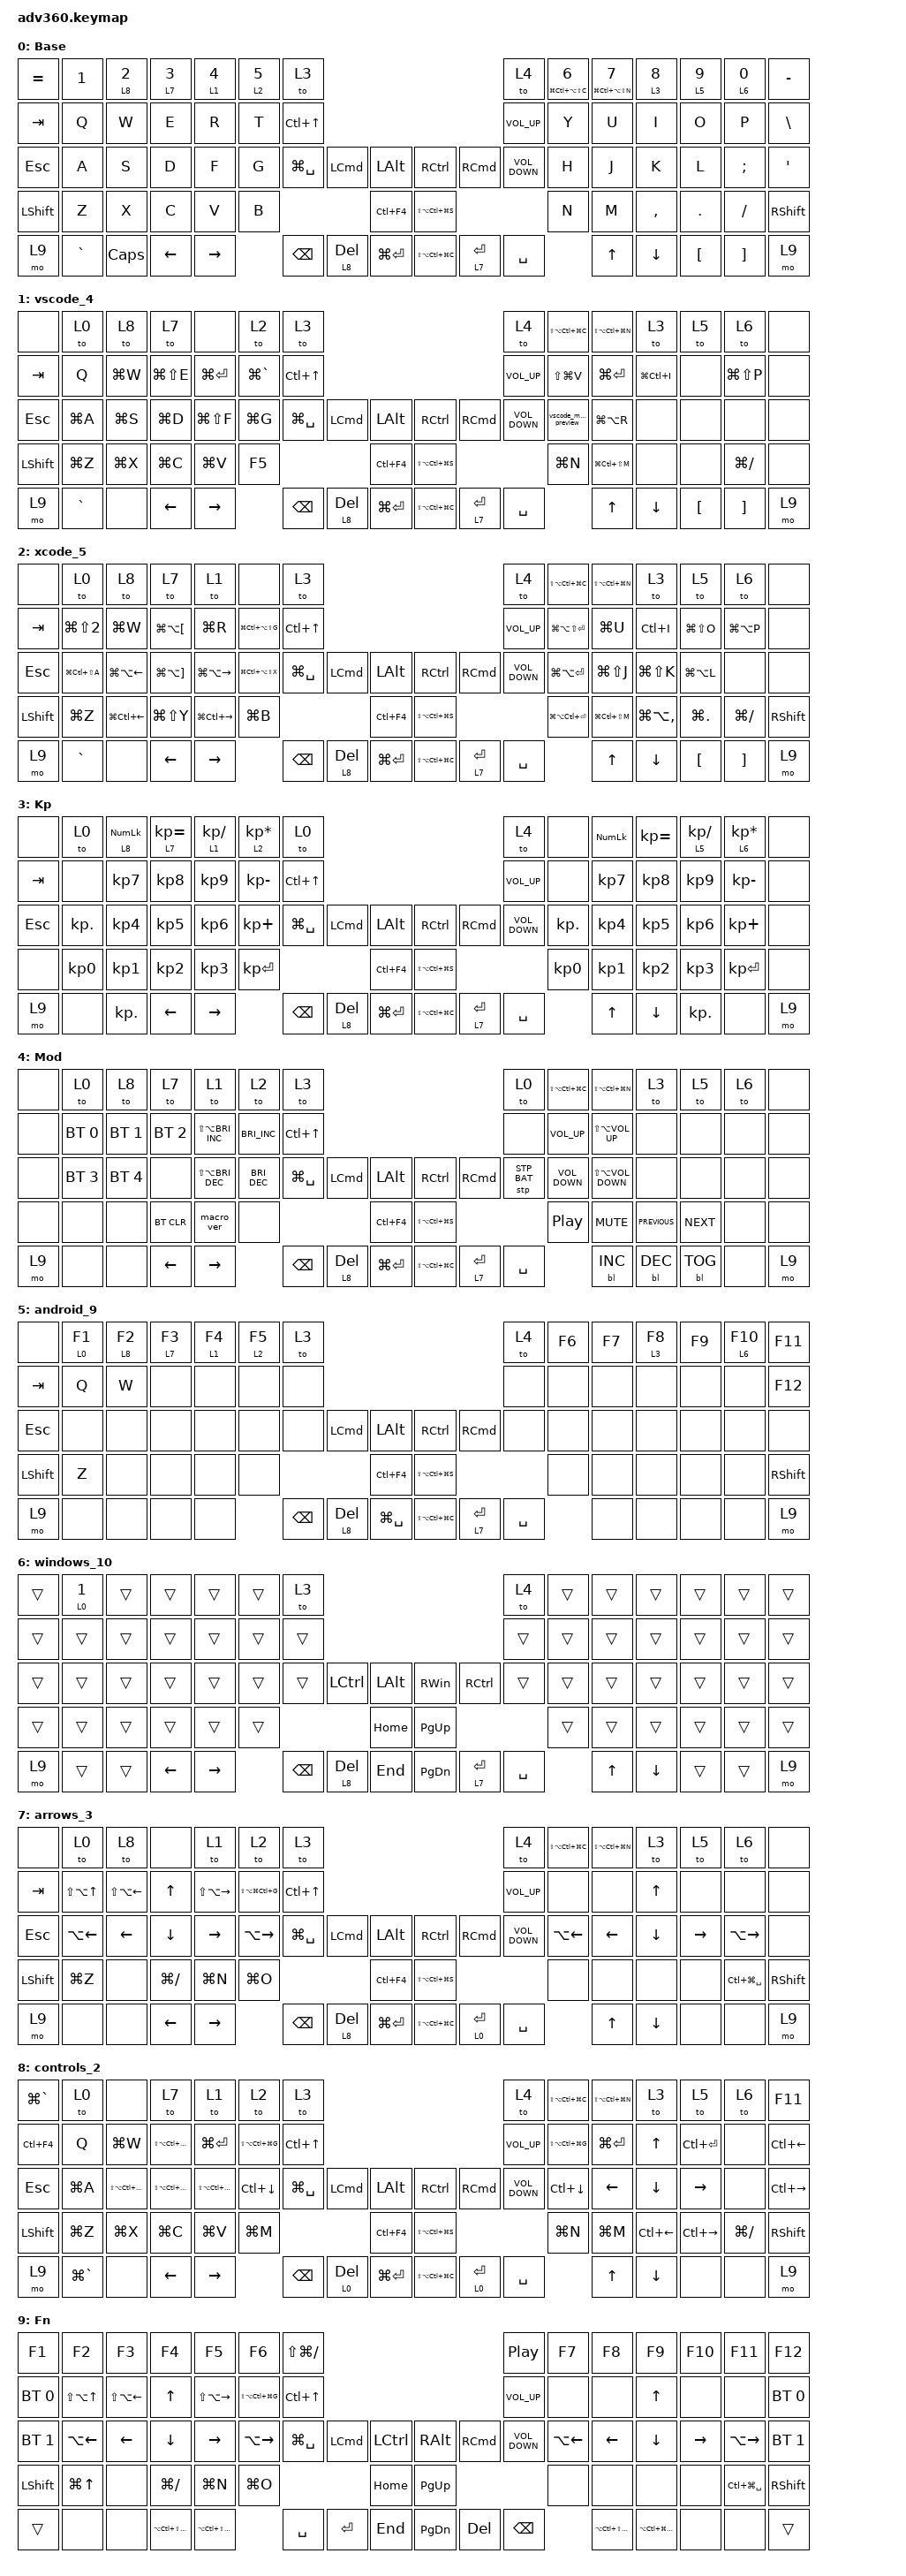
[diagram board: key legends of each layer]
#include <dt-bindings/zmk/stp.h>
#include <behaviors.dtsi>
#include <dt-bindings/zmk/backlight.h>
#include <dt-bindings/zmk/bt.h>
#include <dt-bindings/zmk/keys.h>

/ {
    behaviors {
        #include "macros.dtsi"
      #include "version.dtsi"

        hm: homerow_mods {
            compatible = "zmk,behavior-hold-tap";
            label = "HOMEROW_MODS";
            #binding-cells = <2>;
            tapping-term-ms = <200>;
            quick_tap_ms = <175>;
            flavor = "tap-preferred";
            bindings = <&kp>, <&kp>;
        };

        hold_to_tap_kp: hold_to_tap_kp {
            compatible = "zmk,behavior-hold-tap";
            label = "HOLD_TO_TAP_KP";
            #binding-cells = <2>;
            tapping-term-ms = <200>;
            quick_tap_ms = <175>;
            flavor = "tap-preferred";
            bindings = <&to>, <&kp>;
        };

        hold_kp_tap_kp: hold_kp_tap_kp {
            compatible = "zmk,behavior-hold-tap";
            label = "HOLD_KP_TAP_KP";
            #binding-cells = <2>;
            tapping-term-ms = <200>;
            quick_tap_ms = <175>;
            flavor = "tap-preferred";
            bindings = <&kp>, <&kp>;
        };

        hold_mo_tap_kp: hold_mo_tap_kp {
            compatible = "zmk,behavior-hold-tap";
            label = "HOLD_MO_TAP_KP";
            #binding-cells = <2>;
            tapping-term-ms = <200>;
            quick_tap_ms = <175>;
            flavor = "tap-preferred";
            bindings = <&mo>, <&kp>;
        };
    };

    macros {
        vscode_markdown_preview: vscode_markdown_preview {
            compatible = "zmk,behavior-macro";
            #binding-cells = <0>;
            bindings =
                <&macro_press>,
                <&kp LGUI>,
                <&macro_tap>,
                <&kp K>,
                <&macro_release>,
                <&kp LGUI>,
                <&macro_tap>,
                <&kp V>;

            label = "VSCODE_MARKDOWN_PREVIEW";
        };
    };

    keymap {
        compatible = "zmk,keymap";

        base {
            display-name = "Base";
            bindings = <
&kp EQUAL  &kp N1     &hold_to_tap_kp 8 N2  &hold_to_tap_kp 7 N3  &hold_to_tap_kp 1 N4  &hold_to_tap_kp 2 N5  &to 3                                                                                                       &to 4              &hold_kp_tap_kp LG(LC(LA(LS(C)))) N6  &hold_kp_tap_kp LG(LC(LA(LS(N)))) N7  &hold_to_tap_kp 3 N8  &hold_to_tap_kp 5 N9  &hold_to_tap_kp 6 N0  &kp MINUS
&kp TAB    &kp Q      &kp W                 &kp E                 &kp R                 &kp T                 &kp LC(UP)                                                                                                  &kp C_VOLUME_UP    &kp Y                                 &kp U                                 &kp I                 &kp O                 &kp P                 &kp BSLH
&kp ESC    &kp A      &kp S                 &kp D                 &kp F                 &kp G                 &kp LG(SPACE)  &kp LEFT_COMMAND          &kp LEFT_ALT       &kp RIGHT_CONTROL      &kp RIGHT_COMMAND        &kp C_VOLUME_DOWN  &kp H                                 &kp J                                 &kp K                 &kp L                 &kp SEMI              &kp SQT
&kp LSHFT  &kp Z      &kp X                 &kp C                 &kp V                 &kp B                                                          &kp LC(F4)         &kp LS(LA(LC(LG(S))))                                              &kp N                                 &kp M                                 &kp COMMA             &kp DOT               &kp FSLH              &kp RSHFT
&mo 9      &kp GRAVE  &kp CAPS              &kp LEFT              &kp RIGHT                                   &kp BACKSPACE  &hold_mo_tap_kp 8 DELETE  &kp LG(ENTER)      &kp LS(LA(LC(LG(C))))  &hold_mo_tap_kp 7 ENTER  &kp SPACE                                                &kp UP                                &kp DOWN              &kp LBKT              &kp RBKT              &mo 9
            >;
        };

        vscode_4 {
            bindings = <
&none       &to 0      &to 8      &to 7          &none          &to 2          &to 3                                                                                                       &to 4              &kp LS(LA(LC(LG(C))))     &kp LS(LA(LC(LG(N))))  &to 3          &to 5     &to 6          &none
&kp TAB     &kp Q      &kp LG(W)  &kp LG(LS(E))  &kp LG(ENTER)  &kp LG(GRAVE)  &kp LC(UP)                                                                                                  &kp C_VOLUME_UP    &kp LS(LG(V))             &kp LG(ENTER)          &kp LG(LC(I))  &none     &kp LG(LS(P))  &none
&kp ESC     &kp LG(A)  &kp LG(S)  &kp LG(D)      &kp LG(LS(F))  &kp LG(G)      &kp LG(SPACE)  &kp LEFT_COMMAND          &kp LEFT_ALT       &kp RIGHT_CONTROL      &kp RIGHT_COMMAND        &kp C_VOLUME_DOWN  &vscode_markdown_preview  &kp LG(LA(R))          &none          &none     &none          &none
&kp LSHIFT  &kp LG(Z)  &kp LG(X)  &kp LG(C)      &kp LG(V)      &kp F5                                                  &kp LC(F4)         &kp LS(LA(LC(LG(S))))                                              &kp LG(N)                 &kp LG(LC(LS(M)))      &none          &none     &kp LG(SLASH)  &none
&mo 9       &kp GRAVE  &none      &kp LEFT       &kp RIGHT                     &kp BACKSPACE  &hold_mo_tap_kp 8 DELETE  &kp LG(ENTER)      &kp LS(LA(LC(LG(C))))  &hold_mo_tap_kp 7 ENTER  &kp SPACE                                    &kp UP                 &kp DOWN       &kp LBKT  &kp RBKT       &mo 9
            >;
        };

        xcode_5 {
            bindings = <
&none       &to 0              &to 8             &to 7             &to 1              &none                  &to 3                                                                                                       &to 4              &kp LS(LA(LC(LG(C))))  &kp LS(LA(LC(LG(N))))  &to 3              &to 5          &to 6          &none
&kp TAB     &kp LG(LS(N2))     &kp LG(W)         &kp LG(LA(LBKT))  &kp LG(R)          &kp LG(LC(LA(LS(G))))  &kp LC(UP)                                                                                                  &kp C_VOLUME_UP    &kp LG(LA(LS(ENTER)))  &kp LG(U)              &kp LC(I)          &kp LG(LS(O))  &kp LG(LA(P))  &none
&kp ESC     &kp LG(LC(LS(A)))  &kp LG(LA(LEFT))  &kp LG(LA(RBKT))  &kp LG(LA(RIGHT))  &kp LG(LC(LA(LS(X))))  &kp LG(SPACE)  &kp LEFT_COMMAND          &kp LEFT_ALT       &kp RIGHT_CONTROL      &kp RIGHT_COMMAND        &kp C_VOLUME_DOWN  &kp LG(LA(ENTER))      &kp LG(LS(J))          &kp LG(LS(K))      &kp LG(LA(L))  &none          &none
&kp LSHIFT  &kp LG(Z)          &kp LG(LC(LEFT))  &kp LG(LS(Y))     &kp LG(LC(RIGHT))  &kp LG(B)                                                       &kp LC(F4)         &kp LS(LA(LC(LG(S))))                                              &kp LG(LA(LC(ENTER)))  &kp LG(LC(LS(M)))      &kp LG(LA(COMMA))  &kp LG(DOT)    &kp LG(SLASH)  &kp RSHIFT
&mo 9       &kp GRAVE          &none             &kp LEFT          &kp RIGHT                                 &kp BACKSPACE  &hold_mo_tap_kp 8 DELETE  &kp LG(ENTER)      &kp LS(LA(LC(LG(C))))  &hold_mo_tap_kp 7 ENTER  &kp SPACE                                 &kp UP                 &kp DOWN           &kp LBKT       &kp RBKT       &mo 9
            >;
        };

        keypad {
            display-name = "Kp";
            bindings = <
&none    &to 0       &hold_to_tap_kp 8 KP_NUM  &hold_to_tap_kp 7 KP_EQUAL  &hold_to_tap_kp 1 KP_SLASH  &hold_to_tap_kp 2 KP_MULTIPLY  &to 0                                                                                                       &to 4              &none       &kp KP_NUM  &kp KP_EQUAL  &hold_to_tap_kp 5 KP_SLASH  &hold_to_tap_kp 6 KP_MULTIPLY  &none
&kp TAB  &none       &kp KP_N7                 &kp KP_N8                   &kp KP_N9                   &kp KP_MINUS                   &kp LC(UP)                                                                                                  &kp C_VOLUME_UP    &none       &kp KP_N7   &kp KP_N8     &kp KP_N9                   &kp KP_MINUS                   &none
&kp ESC  &kp KP_DOT  &kp KP_N4                 &kp KP_N5                   &kp KP_N6                   &kp KP_PLUS                    &kp LG(SPACE)  &kp LEFT_COMMAND          &kp LEFT_ALT       &kp RIGHT_CONTROL      &kp RIGHT_COMMAND        &kp C_VOLUME_DOWN  &kp KP_DOT  &kp KP_N4   &kp KP_N5     &kp KP_N6                   &kp KP_PLUS                    &none
&none    &kp KP_N0   &kp KP_N1                 &kp KP_N2                   &kp KP_N3                   &kp KP_ENTER                                                            &kp LC(F4)         &kp LS(LA(LC(LG(S))))                                              &kp KP_N0   &kp KP_N1   &kp KP_N2     &kp KP_N3                   &kp KP_ENTER                   &none
&mo 9    &none       &kp KP_DOT                &kp LEFT                    &kp RIGHT                                                  &kp BSPC       &hold_mo_tap_kp 8 DELETE  &kp LG(ENTER)      &kp LS(LA(LC(LG(C))))  &hold_mo_tap_kp 7 ENTER  &kp SPACE                      &kp UP      &kp DOWN      &kp KP_DOT                  &none                          &mo 9
            >;
        };

        mod-media {
            display-name = "Mod";
            bindings = <
&none  &to 0         &to 8         &to 7         &to 1                         &to 2                 &to 3                                                                                                       &to 0         &kp LS(LA(LC(LG(C))))  &kp LS(LA(LC(LG(N))))      &to 3           &to 5       &to 6  &none
&none  &bt BT_SEL 0  &bt BT_SEL 1  &bt BT_SEL 2  &kp LS(LA(C_BRIGHTNESS_INC))  &kp C_BRIGHTNESS_INC  &kp LC(UP)                                                                                                  &none         &kp C_VOLUME_UP        &kp LS(LA(C_VOLUME_UP))    &none           &none       &none  &none
&none  &bt BT_SEL 3  &bt BT_SEL 4  &none         &kp LS(LA(C_BRIGHTNESS_DEC))  &kp C_BRIGHTNESS_DEC  &kp LG(SPACE)  &kp LEFT_COMMAND          &kp LEFT_ALT       &kp RIGHT_CONTROL      &kp RIGHT_COMMAND        &stp STP_BAT  &kp C_VOLUME_DOWN      &kp LS(LA(C_VOLUME_DOWN))  &none           &none       &none  &none
&none  &none         &none         &bt BT_CLR    &macro_ver                    &none                                                          &kp LC(F4)         &kp LS(LA(LC(LG(S))))                                         &kp C_PLAY_PAUSE       &kp K_MUTE                 &kp C_PREVIOUS  &kp C_NEXT  &none  &none
&mo 9  &none         &none         &kp LEFT      &kp RIGHT                                           &kp BACKSPACE  &hold_mo_tap_kp 8 DELETE  &kp LG(ENTER)      &kp LS(LA(LC(LG(C))))  &hold_mo_tap_kp 7 ENTER  &kp SPACE                            &bl BL_INC                 &bl BL_DEC      &bl BL_TOG  &none  &mo 9
            >;
        };

        android_9 {
            bindings = <
&none       &hold_to_tap_kp 0 F1  &hold_to_tap_kp 8 F2  &hold_to_tap_kp 7 F3  &hold_to_tap_kp 1 F4  &hold_to_tap_kp 2 F5  &to 3                                                                                                       &to 4      &kp F6  &kp F7  &hold_to_tap_kp 3 F8  &kp F9  &hold_to_tap_kp 6 F10  &kp F11
&kp TAB     &kp Q                 &kp W                 &none                 &none                 &none                 &none                                                                                                       &none      &none   &none   &none                 &none   &none                  &kp F12
&kp ESC     &none                 &none                 &none                 &none                 &none                 &none          &kp LEFT_COMMAND          &kp LEFT_ALT       &kp RIGHT_CONTROL      &kp RIGHT_COMMAND        &none      &none   &none   &none                 &none   &none                  &none
&kp LSHIFT  &kp Z                 &none                 &none                 &none                 &none                                                          &kp LC(F4)         &kp LS(LA(LC(LG(S))))                                      &none   &none   &none                 &none   &none                  &kp RSHIFT
&mo 9       &none                 &none                 &none                 &none                                       &kp BACKSPACE  &hold_mo_tap_kp 8 DELETE  &kp LG(SPACE)      &kp LS(LA(LC(LG(C))))  &hold_mo_tap_kp 7 ENTER  &kp SPACE          &none   &none                 &none   &none                  &mo 9
            >;
        };

        windows_10 {
            bindings = <
&trans  &hold_to_tap_kp 0 N1  &trans  &trans    &trans     &trans  &to 3                                                                                              &to 4      &trans  &trans  &trans    &trans  &trans  &trans
&trans  &trans                &trans  &trans    &trans     &trans  &trans                                                                                             &trans     &trans  &trans  &trans    &trans  &trans  &trans
&trans  &trans                &trans  &trans    &trans     &trans  &trans         &kp LEFT_CONTROL          &kp LEFT_ALT      &kp RIGHT_WIN  &kp RIGHT_CONTROL        &trans     &trans  &trans  &trans    &trans  &trans  &trans
&trans  &trans                &trans  &trans    &trans     &trans                                           &kp HOME          &kp PAGE_UP                                        &trans  &trans  &trans    &trans  &trans  &trans
&mo 9   &trans                &trans  &kp LEFT  &kp RIGHT          &kp BACKSPACE  &hold_mo_tap_kp 8 DELETE  &kp END           &kp PAGE_DOWN  &hold_mo_tap_kp 7 ENTER  &kp SPACE          &kp UP  &kp DOWN  &trans  &trans  &mo 9
            >;
        };

        arrows_3 {
            bindings = <
&none       &to 0           &to 8             &none          &to 1              &to 2                  &to 3                                                                                                       &to 4              &kp LS(LA(LC(LG(C))))  &kp LS(LA(LC(LG(N))))  &to 3     &to 5      &to 6              &none
&kp TAB     &kp LS(LA(UP))  &kp LS(LA(LEFT))  &kp UP         &kp LS(LA(RIGHT))  &kp LS(LA(LG(LC(G))))  &kp LC(UP)                                                                                                  &kp C_VOLUME_UP    &none                  &none                  &kp UP    &none      &none              &none
&kp ESC     &kp LA(LEFT)    &kp LEFT          &kp DOWN       &kp RIGHT          &kp LA(RIGHT)          &kp LG(SPACE)  &kp LEFT_COMMAND          &kp LEFT_ALT       &kp RIGHT_CONTROL      &kp RIGHT_COMMAND        &kp C_VOLUME_DOWN  &kp LA(LEFT)           &kp LEFT               &kp DOWN  &kp RIGHT  &kp LA(RIGHT)      &none
&kp LSHIFT  &kp LG(Z)       &none             &kp LG(SLASH)  &kp LG(N)          &kp LG(O)                                                       &kp LC(F4)         &kp LS(LA(LC(LG(S))))                                              &none                  &none                  &none     &none      &kp LC(LG(SPACE))  &kp RSHIFT
&mo 9       &none           &none             &kp LEFT       &kp RIGHT                                 &kp BACKSPACE  &hold_mo_tap_kp 8 DELETE  &kp LG(ENTER)      &kp LS(LA(LC(LG(C))))  &hold_to_tap_kp 0 ENTER  &kp SPACE                                 &kp UP                 &kp DOWN  &none      &none              &mo 9
            >;
        };

        controls_2 {
            bindings = <
&kp LG(GRAVE)  &to 0          &none                     &to 7                     &to 1                      &to 2                  &to 3                                                                                                       &to 4              &kp LS(LA(LC(LG(C))))  &kp LS(LA(LC(LG(N))))  &to 3         &to 5          &to 6          &kp F11
&kp LC(F4)     &kp Q          &kp LG(W)                 &kp LS(LA(LC(LG(UP))))    &kp LG(ENTER)              &kp LS(LA(LC(LG(G))))  &kp LC(UP)                                                                                                  &kp C_VOLUME_UP    &kp LS(LA(LC(LG(G))))  &kp LG(ENTER)          &kp UP        &kp LC(ENTER)  &none          &kp LC(LEFT)
&kp ESCAPE     &kp LG(A)      &kp LS(LA(LC(LG(LEFT))))  &kp LS(LA(LC(LG(DOWN))))  &kp LS(LA(LC(LG(RIGHT))))  &kp LC(DOWN)           &kp LG(SPACE)  &kp LEFT_COMMAND          &kp LEFT_ALT       &kp RIGHT_CONTROL      &kp RIGHT_COMMAND        &kp C_VOLUME_DOWN  &kp LC(DOWN)           &kp LEFT               &kp DOWN      &kp RIGHT      &none          &kp LC(RIGHT)
&kp LSHIFT     &kp LG(Z)      &kp LG(X)                 &kp LG(C)                 &kp LG(V)                  &kp LG(M)                                                       &kp LC(F4)         &kp LS(LA(LC(LG(S))))                                              &kp LG(N)              &kp LG(M)              &kp LC(LEFT)  &kp LC(RIGHT)  &kp LG(SLASH)  &kp RIGHT_SHIFT
&mo 9          &kp LG(GRAVE)  &none                     &kp LEFT                  &kp RIGHT                                         &kp BACKSPACE  &hold_to_tap_kp 0 DELETE  &kp LG(ENTER)      &kp LS(LA(LC(LG(C))))  &hold_to_tap_kp 0 ENTER  &kp SPACE                                 &kp UP                 &kp DOWN      &none          &none          &mo 9
            >;
        };

        fn_revert_7 {
            display-name = "Fn";
            bindings = <
&kp F1        &kp F2                &kp F3                  &kp F4                          &kp F5                           &kp F6                 &kp LS(LG(SLASH))                                                                            &kp C_PLAY_PAUSE   &kp F7              &kp F8                        &kp F9                          &kp F10          &kp F11              &kp F12
&bt BT_SEL 0  &kp LS(LA(UP_ARROW))  &kp LS(LA(LEFT_ARROW))  &kp UP_ARROW                    &kp LS(LA(RIGHT_ARROW))          &kp LS(LA(LC(LG(G))))  &kp LC(UP_ARROW)                                                                             &kp C_VOLUME_UP    &none               &none                         &kp UP_ARROW                    &none            &none                &bt BT_SEL 0
&bt BT_SEL 1  &kp LA(LEFT_ARROW)    &kp LEFT_ARROW          &kp DOWN_ARROW                  &kp RIGHT_ARROW                  &kp LA(RIGHT_ARROW)    &kp LG(SPACE)      &kp LEFT_COMMAND  &kp LEFT_CONTROL      &kp RIGHT_ALT  &kp RIGHT_COMMAND  &kp C_VOLUME_DOWN  &kp LA(LEFT_ARROW)  &kp LEFT_ARROW                &kp DOWN_ARROW                  &kp RIGHT_ARROW  &kp LA(RIGHT_ARROW)  &bt BT_SEL 1
&kp LSHIFT    &kp LG(UP_ARROW)      &none                   &kp LG(SLASH)                   &kp LG(N)                        &kp LG(O)                                                   &kp HOME              &kp PAGE_UP                                          &none               &none                         &none                           &none            &kp LC(LG(SPACE))    &kp RSHFT
&trans        &none                 &none                   &kp LA(LC(LS(LG(LEFT_ARROW))))  &kp LA(LC(LS(LG(RIGHT_ARROW))))                         &kp SPACE          &kp ENTER         &kp END               &kp PAGE_DOWN  &kp DELETE         &kp BACKSPACE                          &kp LA(LC(LS(LG(UP_ARROW))))  &kp LA(LC(LG(LS(DOWN_ARROW))))  &none            &none                &trans
            >;
        };
    };
};
